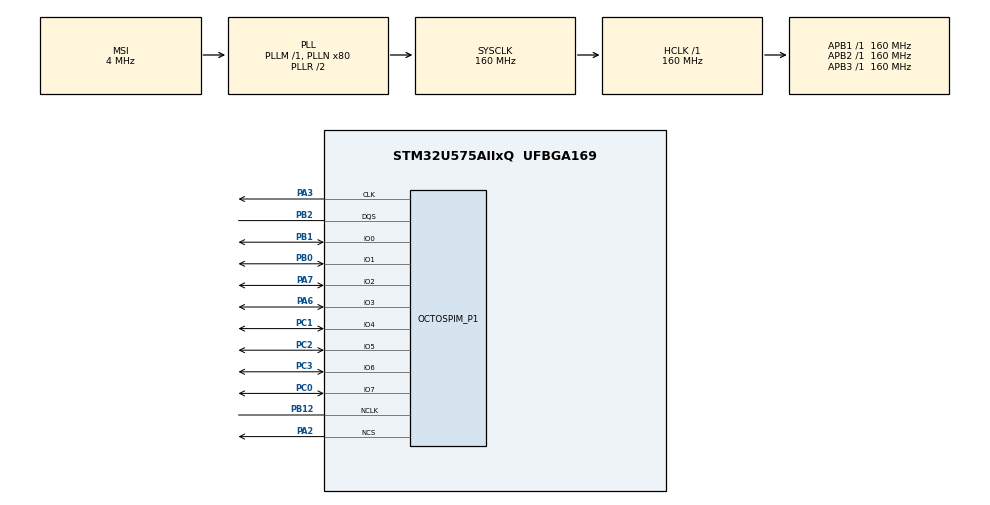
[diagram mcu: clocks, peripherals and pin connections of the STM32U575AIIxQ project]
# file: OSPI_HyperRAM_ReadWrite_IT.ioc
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CORTEX_M33_NS.userName=CORTEX_M33
DCACHE1.DCACHE_Read_Burst_Type=DCACHE_READ_BURST_INCR
Mcu.Family=STM32U5
Mcu.Name=STM32U575AIIxQ
Mcu.Package=UFBGA169
NVIC.OCTOSPI1_IRQn=true\:0\:0\:false\:false\:true\:true\:true\:true
NVIC.PriorityGroup=NVIC_PRIORITYGROUP_4
OCTOSPI1.ChipSelectBoundary=0
OCTOSPI1.ClockPrescaler=4
OCTOSPI1.DelayBlockBypass=HAL_OSPI_DELAY_BLOCK_USED
OCTOSPI1.DelayHoldQuarterCycle=HAL_OSPI_DHQC_ENABLE
OCTOSPI1.DeviceSize=23
OCTOSPI1.FifoThreshold=2
OCTOSPI1.PhaseSel=0x2
OCTOSPI1.Units=0x38
PA2.GPIO_PuPd=GPIO_NOPULL
PA2.GPIO_Speed_High_Default=GPIO_SPEED_FREQ_HIGH
PA2.Mode=OCTOSPI1_Port1_NCS
PA2.Signal=OCTOSPIM_P1_NCS
PA3.GPIO_Speed_High_Default=GPIO_SPEED_FREQ_HIGH
PA3.Mode=O1_P1_CLK
PA3.Signal=OCTOSPIM_P1_CLK
PA6.GPIO_Speed_High_Default=GPIO_SPEED_FREQ_HIGH
PA6.Mode=OCTOSPI1_IOL_Port1L
PA6.Signal=OCTOSPIM_P1_IO3
PA7.GPIO_Speed_High_Default=GPIO_SPEED_FREQ_HIGH
PA7.Mode=OCTOSPI1_IOL_Port1L
PA7.Signal=OCTOSPIM_P1_IO2
PB0.GPIO_Speed_High_Default=GPIO_SPEED_FREQ_HIGH
PB0.Mode=OCTOSPI1_IOL_Port1L
PB0.Signal=OCTOSPIM_P1_IO1
PB1.GPIO_Speed_High_Default=GPIO_SPEED_FREQ_HIGH
PB1.Mode=OCTOSPI1_IOL_Port1L
PB1.Signal=OCTOSPIM_P1_IO0
PB12.GPIO_PuPd=GPIO_NOPULL
PB12.GPIO_Speed_High_Default=GPIO_SPEED_FREQ_HIGH
PB12.Mode=OCTOSPI1_Port1_NCLK
PB12.Signal=OCTOSPIM_P1_NCLK
PB2.GPIO_PuPd=GPIO_NOPULL
PB2.GPIO_Speed_High_Default=GPIO_SPEED_FREQ_HIGH
PB2.Mode=OCTOSPI1_Port1_DQS
PB2.Signal=OCTOSPIM_P1_DQS
PC0.GPIO_Speed_High_Default=GPIO_SPEED_FREQ_HIGH
PC0.Mode=OCTOSPI1_IOH_Port1H
PC0.Signal=OCTOSPIM_P1_IO7
PC1.GPIO_Speed_High_Default=GPIO_SPEED_FREQ_HIGH
PC1.Mode=OCTOSPI1_IOH_Port1H
PC1.Signal=OCTOSPIM_P1_IO4
PC2.GPIO_Speed_High_Default=GPIO_SPEED_FREQ_HIGH
PC2.Mode=OCTOSPI1_IOH_Port1H
PC2.Signal=OCTOSPIM_P1_IO5
PC3.GPIO_Speed_High_Default=GPIO_SPEED_FREQ_HIGH
PC3.Mode=OCTOSPI1_IOH_Port1H
PC3.Signal=OCTOSPIM_P1_IO6
PWR.PowerMode=PWR_SMPS_SUPPLY
ProjectManager.HeapSize=0x1000
ProjectManager.StackSize=0x400
ProjectManager.TargetToolchain=EWARM V8.50
RCC.ADCFreq_Value=16000000
RCC.AHBFreq_Value=160000000
RCC.APB1Freq_Value=160000000
RCC.APB1TimFreq_Value=160000000
RCC.APB2Freq_Value=160000000
RCC.APB2TimFreq_Value=160000000
RCC.APB3Freq_Value=160000000
RCC.CortexFreq_Value=160000000
RCC.DACCLockSelectionVirtual=RCC_DAC1CLKSOURCE_LSI
RCC.DACCLockSelectionVirtualString=RCC_DAC1CLKSOURCE_LSI
RCC.EPOD_VALUE=4000000
RCC.HCLKFreq_Value=160000000
RCC.HSE_VALUE=16000000
RCC.HSI48_VALUE=48000000
RCC.HSI_VALUE=16000000
RCC.LSE_VALUE=32768
RCC.LSIDIV_VALUE=32000
RCC.MSI_VALUE=4000000
RCC.PLLN=80
RCC.SYSCLKFreq_VALUE=160000000
RCC.SYSCLKSource=RCC_SYSCLKSOURCE_PLLCLK
RCC.USBFreq_Value=48000000
RCC.VCOOutputFreq_Value=320000000
VP_DCACHE1_VS_DCACHE.Mode=DCACHE_Activate
VP_ICACHE_VS_ICACHE.Mode=DirectMappedCache
VP_LPBAMQUEUE_VS_QUEUE.Mode=QUEUEMODE
VP_LPBAM_VS_SIG1.Mode=SmartRun
VP_LPBAM_VS_SIG4.Mode=LPDMA1
VP_OCTOSPI1_VS_hyperbus.Mode=hyperbus_mode
VP_PWR_VS_DBSignals.Mode=DisableDeadBatterySignals
VP_PWR_VS_LPOM.Mode=PowerOptimisation
VP_PWR_VS_SECSignals.Mode=Security/Privilege
board=custom

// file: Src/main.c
/* USER CODE BEGIN Header */
/**
  ******************************************************************************
  * @file           : main.c
  * @brief          : Main program body
  ******************************************************************************
  * @attention
  *
  * Copyright (c) 2021 STMicroelectronics.
  * All rights reserved.
  *
  * This software is licensed under terms that can be found in the LICENSE file
  * in the root directory of this software component.
  * If no LICENSE file comes with this software, it is provided AS-IS.
  *
  ******************************************************************************
  */
/* USER CODE END Header */
#include "main.h"

DCACHE_HandleTypeDef hdcache1;

OSPI_HandleTypeDef hospi1;

/* USER CODE BEGIN PV */

uint8_t CmdCplt, TxCplt , StatusMatch , RxCplt;

/* Buffer used for transmission */
uint8_t aTxBuffer[BUFFERSIZE];

/* Buffer used for reception */
uint8_t aRxBuffer[BUFFERSIZE];

OSPI_HyperbusCfgTypeDef sHyperbusCfg = {0};
OSPI_HyperbusCmdTypeDef sCommand = {0};
uint16_t index_buffer;
__IO uint8_t step = 0;
/* USER CODE END PV */

void SystemClock_Config(void);
static void SystemPower_Config(void);
static void MX_GPIO_Init(void);
static void MX_DCACHE1_Init(void);
static void MX_ICACHE_Init(void);
static void MX_OCTOSPI1_Init(void);

int main(void)
{

  /* USER CODE BEGIN 1 */
  /* STM32U5xx HAL library initialization:
  - Configure the Flash prefetch
  - Configure the Systick to generate an interrupt each 1 msec
  - Set NVIC Group Priority to 3
  - Low Level Initialization
  */
  /* USER CODE END 1 */

  /* MCU Configuration--------------------------------------------------------*/

  /* Reset of all peripherals, Initializes the Flash interface and the Systick. */
  HAL_Init();

  /* Configure the System Power */
  SystemPower_Config();

  /* Configure the system clock */
  SystemClock_Config();

  /* Initialize all configured peripherals */
  MX_GPIO_Init();
  MX_DCACHE1_Init();
  MX_ICACHE_Init();
  MX_OCTOSPI1_Init();
  /* USER CODE BEGIN 2 */
  BSP_LED_Init(LED_GREEN);
  BSP_LED_Init(LED_RED);

    /* Configure the Hyperbus to access memory space -------------------------- */
  sHyperbusCfg.RWRecoveryTime   = OSPI_HYPERRAM_RW_REC_TIME;
  sHyperbusCfg.AccessTime       = OSPI_HYPERRAM_LATENCY;
  sHyperbusCfg.WriteZeroLatency = HAL_OSPI_LATENCY_ON_WRITE;
  sHyperbusCfg.LatencyMode      = HAL_OSPI_FIXED_LATENCY;

  if (HAL_OSPI_HyperbusCfg(&hospi1, &sHyperbusCfg, HAL_OSPI_TIMEOUT_DEFAULT_VALUE) != HAL_OK)
  {
    Error_Handler();
  }

  /* USER CODE END 2 */

  /* Infinite loop */
  /* USER CODE BEGIN WHILE */
  while (1)
  {
    switch(step)
    {
    case 0:

      TxCplt = 0;

      /* Initialize Transmission and Reception buffer --------------------------------------- */
      for (index_buffer = 0; index_buffer < BUFFERSIZE; index_buffer++)
      {
        aTxBuffer[index_buffer] = index_buffer;
        aRxBuffer[index_buffer] = 0;
      }

      sCommand.AddressSpace = HAL_OSPI_MEMORY_ADDRESS_SPACE;
      sCommand.AddressSize  = HAL_OSPI_ADDRESS_32_BITS;
      sCommand.DQSMode      = HAL_OSPI_DQS_ENABLE;
      sCommand.Address      = 0;
      sCommand.NbData       = BUFFERSIZE;

      if (HAL_OSPI_HyperbusCmd(&hospi1, &sCommand, HAL_OSPI_TIMEOUT_DEFAULT_VALUE) != HAL_OK)
      {
        Error_Handler();
      }

      if (HAL_OSPI_Transmit_IT(&hospi1, aTxBuffer) != HAL_OK)
      {
        Error_Handler();
      }

      step++;

      break;

    case 1:

      if(TxCplt != 0)
      {
        TxCplt = 0;
        RxCplt = 0;

        if (HAL_OSPI_HyperbusCmd(&hospi1, &sCommand, HAL_OSPI_TIMEOUT_DEFAULT_VALUE) != HAL_OK)
        {
          Error_Handler();
        }

        if (HAL_OSPI_Receive_IT(&hospi1, aRxBuffer) != HAL_OK)
        {
          Error_Handler();
        }

        step++;
      }
      break;

    case 2:

      if(RxCplt != 0)
      {
        RxCplt = 0;

        for (index_buffer = 0; index_buffer < BUFFERSIZE; index_buffer++)
        {
          if (aRxBuffer[index_buffer] != aTxBuffer[index_buffer])
          {
            BSP_LED_On(LED_RED);
          }
        }
        step = 0;
        BSP_LED_Toggle(LED_GREEN);
        HAL_Delay(50);
      }
      break;

    default :
      Error_Handler();
    }

    /* USER CODE END WHILE */

  }
}

void SystemClock_Config(void)
{
  RCC_OscInitTypeDef RCC_OscInitStruct = {0};
  RCC_ClkInitTypeDef RCC_ClkInitStruct = {0};

  /** Configure the main internal regulator output voltage
  */
  if (HAL_PWREx_ControlVoltageScaling(PWR_REGULATOR_VOLTAGE_SCALE1) != HAL_OK)
  {
    Error_Handler();
  }

  /** Initializes the CPU, AHB and APB buses clocks
  */
  RCC_OscInitStruct.OscillatorType = RCC_OSCILLATORTYPE_MSI;
  RCC_OscInitStruct.MSIState = RCC_MSI_ON;
  RCC_OscInitStruct.MSICalibrationValue = RCC_MSICALIBRATION_DEFAULT;
  RCC_OscInitStruct.MSIClockRange = RCC_MSIRANGE_4;
  RCC_OscInitStruct.PLL.PLLState = RCC_PLL_ON;
  RCC_OscInitStruct.PLL.PLLSource = RCC_PLLSOURCE_MSI;
  RCC_OscInitStruct.PLL.PLLMBOOST = RCC_PLLMBOOST_DIV1;
  RCC_OscInitStruct.PLL.PLLM = 1;
  RCC_OscInitStruct.PLL.PLLN = 80;
  RCC_OscInitStruct.PLL.PLLP = 2;
  RCC_OscInitStruct.PLL.PLLQ = 2;
  RCC_OscInitStruct.PLL.PLLR = 2;
  RCC_OscInitStruct.PLL.PLLRGE = RCC_PLLVCIRANGE_0;
  RCC_OscInitStruct.PLL.PLLFRACN = 0;
  if (HAL_RCC_OscConfig(&RCC_OscInitStruct) != HAL_OK)
  {
    Error_Handler();
  }

  /** Initializes the CPU, AHB and APB buses clocks
  */
  RCC_ClkInitStruct.ClockType = RCC_CLOCKTYPE_HCLK|RCC_CLOCKTYPE_SYSCLK
                              |RCC_CLOCKTYPE_PCLK1|RCC_CLOCKTYPE_PCLK2
                              |RCC_CLOCKTYPE_PCLK3;
  RCC_ClkInitStruct.SYSCLKSource = RCC_SYSCLKSOURCE_PLLCLK;
  RCC_ClkInitStruct.AHBCLKDivider = RCC_SYSCLK_DIV1;
  RCC_ClkInitStruct.APB1CLKDivider = RCC_HCLK_DIV1;
  RCC_ClkInitStruct.APB2CLKDivider = RCC_HCLK_DIV1;
  RCC_ClkInitStruct.APB3CLKDivider = RCC_HCLK_DIV1;

  if (HAL_RCC_ClockConfig(&RCC_ClkInitStruct, FLASH_LATENCY_4) != HAL_OK)
  {
    Error_Handler();
  }
}

/**
  * @brief Power Configuration
  * @retval None
  */
static void SystemPower_Config(void)
{

  /*
   * Disable the internal Pull-Up in Dead Battery pins of UCPD peripheral
   */
  HAL_PWREx_DisableUCPDDeadBattery();

  /*
   * Switch to SMPS regulator instead of LDO
   */
  if (HAL_PWREx_ConfigSupply(PWR_SMPS_SUPPLY) != HAL_OK)
  {
    Error_Handler();
  }
}

static void MX_DCACHE1_Init(void)
{

  hdcache1.Instance = DCACHE1;
  hdcache1.Init.ReadBurstType = DCACHE_READ_BURST_INCR;
  if (HAL_DCACHE_Init(&hdcache1) != HAL_OK)
  {
    Error_Handler();
  }

}

static void MX_ICACHE_Init(void)
{

  /** Enable instruction cache in 1-way (direct mapped cache)
  */
  if (HAL_ICACHE_ConfigAssociativityMode(ICACHE_1WAY) != HAL_OK)
  {
    Error_Handler();
  }
  if (HAL_ICACHE_Enable() != HAL_OK)
  {
    Error_Handler();
  }

}

static void MX_OCTOSPI1_Init(void)
{

  OSPIM_CfgTypeDef sOspiManagerCfg = {0};
  OSPI_HyperbusCfgTypeDef sHyperBusCfg = {0};
  HAL_OSPI_DLYB_CfgTypeDef HAL_OSPI_DLYB_Cfg_Struct = {0};

  /* OCTOSPI1 parameter configuration*/
  hospi1.Instance = OCTOSPI1;
  hospi1.Init.FifoThreshold = 2;
  hospi1.Init.DualQuad = HAL_OSPI_DUALQUAD_DISABLE;
  hospi1.Init.MemoryType = HAL_OSPI_MEMTYPE_HYPERBUS;
  hospi1.Init.DeviceSize = 23;
  hospi1.Init.ChipSelectHighTime = 1;
  hospi1.Init.FreeRunningClock = HAL_OSPI_FREERUNCLK_DISABLE;
  hospi1.Init.ClockMode = HAL_OSPI_CLOCK_MODE_0;
  hospi1.Init.WrapSize = HAL_OSPI_WRAP_NOT_SUPPORTED;
  hospi1.Init.ClockPrescaler = 4;
  hospi1.Init.SampleShifting = HAL_OSPI_SAMPLE_SHIFTING_NONE;
  hospi1.Init.DelayHoldQuarterCycle = HAL_OSPI_DHQC_ENABLE;
  hospi1.Init.ChipSelectBoundary = 0;
  hospi1.Init.DelayBlockBypass = HAL_OSPI_DELAY_BLOCK_USED;
  hospi1.Init.MaxTran = 0;
  hospi1.Init.Refresh = 0;
  if (HAL_OSPI_Init(&hospi1) != HAL_OK)
  {
    Error_Handler();
  }
  sOspiManagerCfg.ClkPort = 1;
  sOspiManagerCfg.DQSPort = 1;
  sOspiManagerCfg.NCSPort = 1;
  sOspiManagerCfg.IOLowPort = HAL_OSPIM_IOPORT_1_LOW;
  sOspiManagerCfg.IOHighPort = HAL_OSPIM_IOPORT_1_HIGH;
  if (HAL_OSPIM_Config(&hospi1, &sOspiManagerCfg, HAL_OSPI_TIMEOUT_DEFAULT_VALUE) != HAL_OK)
  {
    Error_Handler();
  }
  sHyperBusCfg.RWRecoveryTime = 0;
  sHyperBusCfg.AccessTime = 0;
  sHyperBusCfg.WriteZeroLatency = HAL_OSPI_NO_LATENCY_ON_WRITE;
  sHyperBusCfg.LatencyMode = HAL_OSPI_VARIABLE_LATENCY;
  if (HAL_OSPI_HyperbusCfg(&hospi1, &sHyperBusCfg, HAL_OSPI_TIMEOUT_DEFAULT_VALUE) != HAL_OK)
  {
    Error_Handler();
  }
  HAL_OSPI_DLYB_Cfg_Struct.Units = 0x38;
  HAL_OSPI_DLYB_Cfg_Struct.PhaseSel = 0x2;
  if (HAL_OSPI_DLYB_SetConfig(&hospi1, &HAL_OSPI_DLYB_Cfg_Struct) != HAL_OK)
  {
    Error_Handler();
  }

}

static void MX_GPIO_Init(void)
{

  /* GPIO Ports Clock Enable */
  __HAL_RCC_GPIOC_CLK_ENABLE();
  __HAL_RCC_GPIOA_CLK_ENABLE();
  __HAL_RCC_GPIOB_CLK_ENABLE();

}

/* USER CODE BEGIN 4 */
/**
  * @brief  Command completed callback.
  * @param  hospi: OSPI handle
  * @retval None
  */
void HAL_OSPI_CmdCpltCallback(OSPI_HandleTypeDef *hospi)
{
  CmdCplt++;
}

/**
  * @brief  Transfer Error callback.
  * @param  hospi: OSPI handle
  * @retval None
  */
void HAL_OSPI_ErrorCallback(OSPI_HandleTypeDef *hospi)
{
  Error_Handler();
}
/**
  * @brief  Tx Transfer completed callbacks.
  * @param  hospi: OSPI handle
  * @retval None
  */
 void HAL_OSPI_TxCpltCallback(OSPI_HandleTypeDef *hospi)
{
  TxCplt++;
}

/**
  * @brief  Rx Transfer completed callbacks.
  * @param  hospi: OSPI handle
  * @retval None
  */
void HAL_OSPI_RxCpltCallback(OSPI_HandleTypeDef *hospi)
{
  RxCplt++;
}

/**
  * @brief  Status Match callbacks
  * @param  hospi: OSPI handle
  * @retval None
  */
void HAL_OSPI_StatusMatchCallback(OSPI_HandleTypeDef *hospi)
{
  StatusMatch++;
}

/* USER CODE END 4 */

void Error_Handler(void)
{
  __disable_irq();
  while (1)
  {
  }
}
